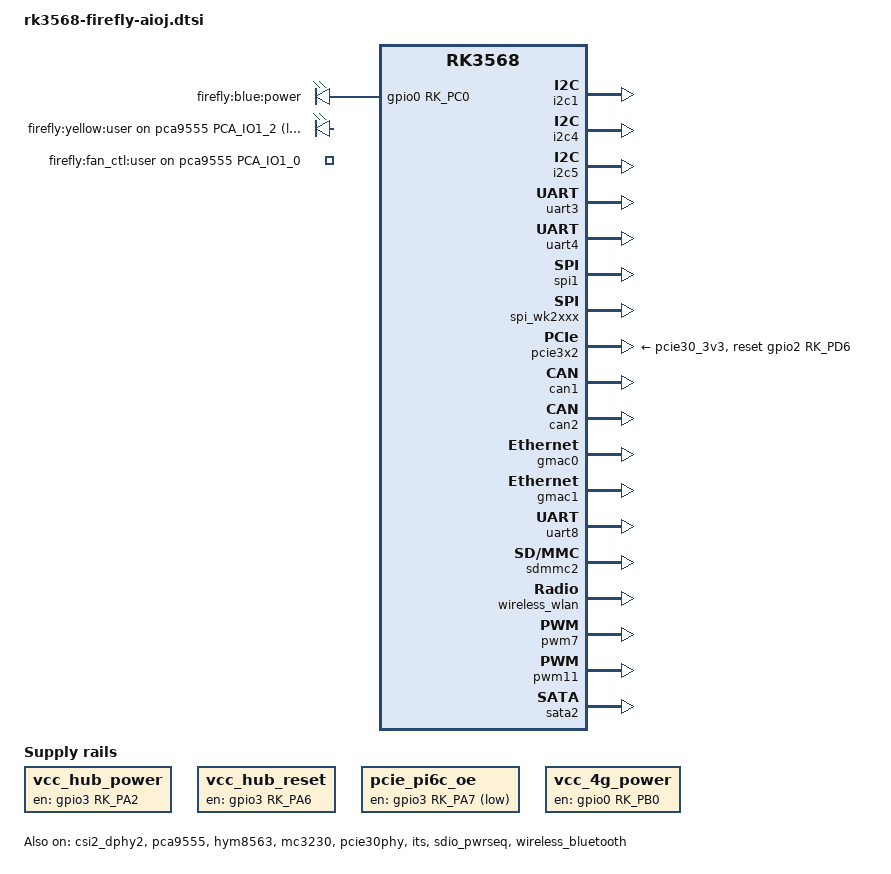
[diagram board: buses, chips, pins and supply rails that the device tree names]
// SPDX-License-Identifier: (GPL-2.0+ OR MIT)
/*
 * Copyright (c) 2020 Rockchip Electronics Co., Ltd.
 *
 */

#include "rk3568-firefly-port.dtsi"

/ {

	vcc_hub_power: vcc-hub-power-regulator {
		compatible = "regulator-fixed";
		enable-active-high;
		gpio = <&gpio3 RK_PA2 GPIO_ACTIVE_HIGH>;
		pinctrl-names = "default";
		pinctrl-0 = <&vcc_hub_power_en>;
		regulator-name = "vcc_hub_power_en";
		regulator-always-on;
	};

	vcc_hub_reset: vcc-hub-reset-regulator {
		compatible = "regulator-fixed";
		enable-active-high;
		gpio = <&gpio3 RK_PA6 GPIO_ACTIVE_HIGH>;
		pinctrl-names = "default";
		pinctrl-0 = <&vcc_hub_reset_en>;
		regulator-name = "vcc_hub_reset_en";
		regulator-always-on;
	};

    pcie_pi6c_oe: pcie-pi6c-oe-regulator {
		compatible = "regulator-fixed";
		//enable-active-high;
		gpio = <&gpio3 RK_PA7 GPIO_ACTIVE_LOW>;
		pinctrl-names = "default";
		pinctrl-0 = <&pcie_pi6c_oe_en>;
		regulator-name = "pcie_pi6c_oe_en";
		regulator-always-on;
	};

    vcc_4g_power: vcc-4g-power-regulator {
        compatible = "regulator-fixed";
        enable-active-high;
        gpio = <&gpio0 RK_PB0 GPIO_ACTIVE_HIGH>;
        pinctrl-names = "default";
        pinctrl-0 = <&vcc_4g_power_en>;
        regulator-name = "vcc_4g_power_en";
        regulator-always-on;
    };

	firefly_leds: leds {
		status = "okay";
		compatible = "gpio-leds";

		power_led: power {
			label = "firefly:blue:power";
			linux,default-trigger = "ir-power-click";
			default-state = "on";
			gpios = <&gpio0 RK_PC0 GPIO_ACTIVE_HIGH>;
			pinctrl-names = "default";
			pinctrl-0 = <&led_power>;
		};

		user_led: user {
			label = "firefly:yellow:user";
			linux,default-trigger = "ir-user-click";
			default-state = "off";
			gpios = <&pca9555 PCA_IO1_2 GPIO_ACTIVE_LOW>;
		};

		fan_ctl: fan-ctl {
			label = "firefly:fan_ctl:user";
			linux,default-trigger = "ir-user-click";
			default-state = "on";
			gpios = <&pca9555 PCA_IO1_0 GPIO_ACTIVE_HIGH>;
		};
	};
};

&csi2_dphy0 {
	status = "disabled";
};

&csi2_dphy1 {
	status = "disabled";
	/*
	* dphy1 only used for split mode,
	* can be used  concurrently  with dphy2
	* full mode and split mode are mutually exclusive
	*/
};

&csi2_dphy2 {
	status = "okay";
	/*
	* dphy2 only used for split mode,
	* can be used  concurrently  with dphy1
	* full mode and split mode are mutually exclusive
	*/
};

&rkisp_vir0 {
	status = "disabled";
};

&rkisp_vir1 {
	status = "disabled";
};

&i2c1 {
    status = "okay";
};

&i2c4 {
	status = "okay";
};

&pca9555 {
    status = "okay";
};

&i2c5 {
    status = "okay";
};

&hym8563 {
    status = "okay";
};

&mc3230 {
    status = "okay";
};

&uart3 {
	status = "okay";
};

&uart4 {
    status = "okay";
};

&spi1 {
	status = "okay";
};

&spi_wk2xxx {
	status = "okay";
};

&pcie30phy {
       status = "okay";
};

&pcie3x2 {
        reset-gpios = <&gpio2 RK_PD6 GPIO_ACTIVE_HIGH>;
        vpcie3v3-supply = <&pcie30_3v3>;

       status = "okay";
};

&its {
    status = "okay";
};

&can1 {
    status = "okay";
};

&can2 {
    status = "okay";
};

&gmac0 {
    status = "okay";
};

&gmac1 {
    status = "okay";
};

&rgmii_phy0 {
	led_status_value = <0x6940>;
};

&rgmii_phy1 {
	led_status_value = <0x6940>;
};

&uart8 {
	status = "okay";
};

&sdio_pwrseq {
	status = "okay";
	reset-gpios = <&gpio3 RK_PD5 GPIO_ACTIVE_LOW>;
	post-power-on-delay-ms = <100>;
};

&sdmmc2 {
	status = "okay";
	max-frequency = <100000000>;
};

&wireless_wlan {
	wifi_chip_type = "ap6275s";
	status = "okay";
};

&wireless_bluetooth {
	BT,wake_gpio     = <&gpio3 RK_PB5 GPIO_ACTIVE_HIGH>;
	BT,wake_host_irq = <&gpio2 RK_PD7 GPIO_ACTIVE_HIGH>;
	status = "okay";
};

&spdif_8ch{
    status = "disabled";
};

&rk809_codec {
    hp-ctl-gpios = <&gpio1 RK_PB0 GPIO_ACTIVE_HIGH>;
};

&rk809 {
    rtc {
        status = "disabled";
    };
};

&pwm7 {
	status = "okay";
};

&pwm11 {
	status = "okay";
	pinctrl-0 = <&pwm11m1_pins>;
};

&sata2 {
	status = "okay";
};

&pinctrl {

	usb {
		vcc_hub_power_en: vcc-hub-power-en {
			rockchip,pins = <3 RK_PA2 RK_FUNC_GPIO &pcfg_pull_none>;
		};

		vcc_hub_reset_en: vcc-hub-reset-en {
			rockchip,pins = <3 RK_PA6 RK_FUNC_GPIO &pcfg_pull_none>;
		};
	};

    pcie {
        pcie_pi6c_oe_en: pcie-pi6c-oe-en {
			rockchip,pins = <3 RK_PA7 RK_FUNC_GPIO &pcfg_pull_none>;
		};
    };

	4g {
	    vcc_4g_power_en: vcc-4g-power-en {
	        rockchip,pins = <0 RK_PB0 RK_FUNC_GPIO &pcfg_pull_none>;
	    };
	};

	leds {
	    led_power: led-power {
	        rockchip,pins = <0 RK_PC0 RK_FUNC_GPIO &pcfg_pull_none>;
	    };
	};
};
